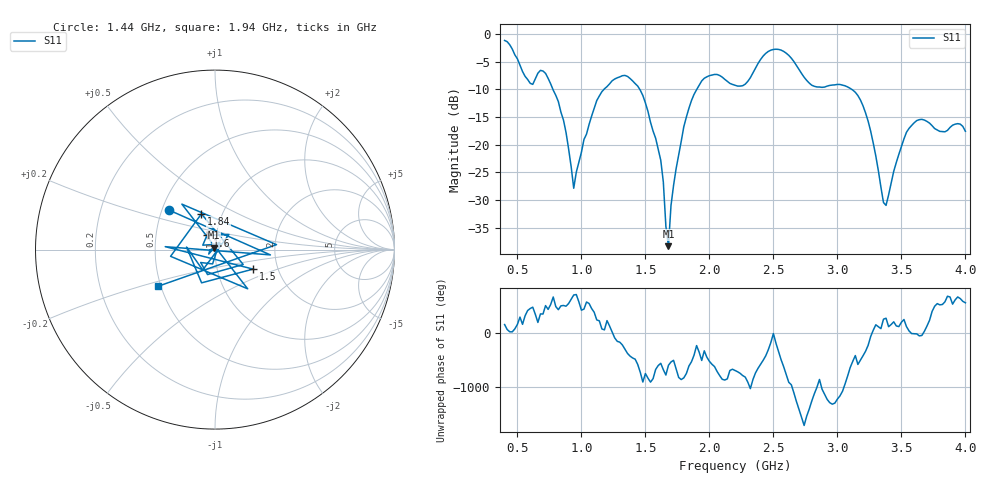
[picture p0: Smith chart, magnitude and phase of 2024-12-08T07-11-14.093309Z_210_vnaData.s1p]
!Created with skrf (http://scikit-rf.org).
# Hz S RI R 50.0
!freq ReS11 ImS11
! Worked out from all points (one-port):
!   181 points, 400 MHz to 4 GHz, reference 50 ohm
!   lowest |S11| = -38.3 dB at 1.68 GHz (marker M1), VSWR 1.02, Z = 49.3 + j0.99 ohm
!   |S11| at or under -10 dB: 777.1 MHz to 1.177 GHz (399.8 MHz wide, 40.9 % of centre); 1.455 GHz to 1.902 GHz (446.4 MHz wide, 26.6 % of centre); 3.111 GHz to end of sweep
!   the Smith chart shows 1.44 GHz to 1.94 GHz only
!   S11 on the Smith chart (normalised r, x): 1.44 GHz: 0.54, +0.27; 1.5 GHz: 1.49, -0.34; 1.6 GHz: 0.90, +0.14; 1.84 GHz: 0.80, +0.33; 1.94 GHz: 0.48, -0.23
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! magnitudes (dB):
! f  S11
! 400 MHz  -1.2
! 600 MHz  -8.9
! 720 MHz  -7.1
! 860 MHz  -15.6
! 940 MHz  -27.9
! 1.02 GHz  -19.1
! 1.12 GHz  -12.0
! 1.3 GHz  -7.8
! 1.44 GHz  -9.4
! 1.5 GHz  -12.5
! 1.6 GHz  -20.8
! 1.64 GHz  -26.7
! 1.66 GHz  -34.7
! 1.68 GHz  -38.3
! 1.7 GHz  -31.0
! 1.76 GHz  -21.8
! 1.84 GHz  -13.4
! 1.94 GHz  -8.5
! 2.2 GHz  -9.3
! 2.48 GHz  -2.9
! 2.66 GHz  -5.0
! 2.8 GHz  -9.3
! 3.1 GHz  -9.8
! 3.24 GHz  -15.7
! 3.38 GHz  -30.9
! 3.56 GHz  -17.1
! 3.66 GHz  -15.4
! 4 GHz  -17.6
